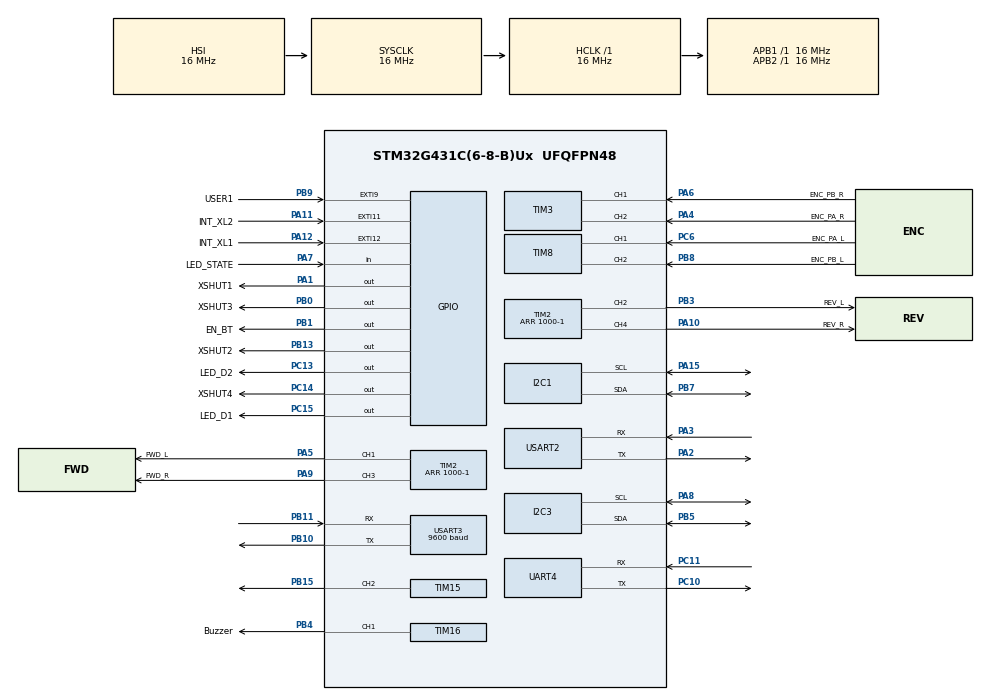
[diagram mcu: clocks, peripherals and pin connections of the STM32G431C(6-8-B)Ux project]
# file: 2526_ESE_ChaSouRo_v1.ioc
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Dma.I2C1_TX.1.Direction=DMA_MEMORY_TO_PERIPH
Dma.I2C1_TX.1.EventEnable=DISABLE
Dma.I2C1_TX.1.Instance=DMA1_Channel2
Dma.I2C1_TX.1.MemDataAlignment=DMA_MDATAALIGN_BYTE
Dma.I2C1_TX.1.MemInc=DMA_MINC_ENABLE
Dma.I2C1_TX.1.Mode=DMA_NORMAL
Dma.I2C1_TX.1.PeriphDataAlignment=DMA_PDATAALIGN_BYTE
Dma.I2C1_TX.1.PeriphInc=DMA_PINC_DISABLE
Dma.I2C1_TX.1.Polarity=HAL_DMAMUX_REQ_GEN_RISING
Dma.I2C1_TX.1.Priority=DMA_PRIORITY_LOW
Dma.I2C1_TX.1.RequestNumber=1
Dma.I2C1_TX.1.SignalID=NONE
Dma.I2C1_TX.1.SyncEnable=DISABLE
Dma.I2C1_TX.1.SyncPolarity=HAL_DMAMUX_SYNC_NO_EVENT
Dma.I2C1_TX.1.SyncRequestNumber=1
Dma.I2C1_TX.1.SyncSignalID=NONE
Dma.Request0=USART2_RX
Dma.Request1=I2C1_TX
Dma.Request2=USART3_TX
Dma.USART2_RX.0.Direction=DMA_PERIPH_TO_MEMORY
Dma.USART2_RX.0.EventEnable=DISABLE
Dma.USART2_RX.0.Instance=DMA1_Channel3
Dma.USART2_RX.0.MemDataAlignment=DMA_MDATAALIGN_BYTE
Dma.USART2_RX.0.MemInc=DMA_MINC_ENABLE
Dma.USART2_RX.0.Mode=DMA_CIRCULAR
Dma.USART2_RX.0.PeriphDataAlignment=DMA_PDATAALIGN_BYTE
Dma.USART2_RX.0.PeriphInc=DMA_PINC_DISABLE
Dma.USART2_RX.0.Polarity=HAL_DMAMUX_REQ_GEN_RISING
Dma.USART2_RX.0.Priority=DMA_PRIORITY_LOW
Dma.USART2_RX.0.RequestNumber=1
Dma.USART2_RX.0.SignalID=NONE
Dma.USART2_RX.0.SyncEnable=DISABLE
Dma.USART2_RX.0.SyncPolarity=HAL_DMAMUX_SYNC_NO_EVENT
Dma.USART2_RX.0.SyncRequestNumber=1
Dma.USART2_RX.0.SyncSignalID=NONE
Dma.USART3_TX.2.Direction=DMA_MEMORY_TO_PERIPH
Dma.USART3_TX.2.EventEnable=DISABLE
Dma.USART3_TX.2.Instance=DMA1_Channel1
Dma.USART3_TX.2.MemDataAlignment=DMA_MDATAALIGN_BYTE
Dma.USART3_TX.2.MemInc=DMA_MINC_ENABLE
Dma.USART3_TX.2.Mode=DMA_CIRCULAR
Dma.USART3_TX.2.PeriphDataAlignment=DMA_PDATAALIGN_BYTE
Dma.USART3_TX.2.PeriphInc=DMA_PINC_DISABLE
Dma.USART3_TX.2.Polarity=HAL_DMAMUX_REQ_GEN_RISING
Dma.USART3_TX.2.Priority=DMA_PRIORITY_LOW
Dma.USART3_TX.2.RequestNumber=1
Dma.USART3_TX.2.SignalID=NONE
Dma.USART3_TX.2.SyncEnable=DISABLE
Dma.USART3_TX.2.SyncPolarity=HAL_DMAMUX_SYNC_NO_EVENT
Dma.USART3_TX.2.SyncRequestNumber=1
Dma.USART3_TX.2.SyncSignalID=NONE
FREERTOS.INCLUDE_uxTaskGetStackHighWaterMark=1
FREERTOS.INCLUDE_uxTaskGetStackHighWaterMark2=1
FREERTOS.INCLUDE_vTaskDelayUntil=1
FREERTOS.Tasks01=defaultTask,0,128,StartDefaultTask,Default,NULL,Dynamic,NULL,NULL
FREERTOS.configCHECK_FOR_STACK_OVERFLOW=2
FREERTOS.configGENERATE_RUN_TIME_STATS=1
FREERTOS.configRECORD_STACK_HIGH_ADDRESS=1
FREERTOS.configTOTAL_HEAP_SIZE=25000
FREERTOS.configUSE_MALLOC_FAILED_HOOK=1
FREERTOS.configUSE_NEWLIB_REENTRANT=1
FREERTOS.configUSE_STATS_FORMATTING_FUNCTIONS=1
FREERTOS.configUSE_TRACE_FACILITY=1
I2C1.Timing=0x00503D58
I2C3.Timing=0x00503D58
Mcu.Family=STM32G4
Mcu.Name=STM32G431C(6-8-B)Ux
Mcu.Package=UFQFPN48
NVIC.DMA1_Channel1_IRQn=true\:5\:0\:false\:false\:true\:true\:false\:true\:true
NVIC.DMA1_Channel2_IRQn=true\:5\:0\:false\:false\:true\:true\:false\:true\:true
NVIC.DMA1_Channel3_IRQn=true\:5\:0\:false\:false\:true\:true\:false\:true\:true
NVIC.EXTI9_5_IRQn=true\:5\:0\:false\:false\:true\:true\:true\:true\:true
NVIC.PriorityGroup=NVIC_PRIORITYGROUP_4
NVIC.TIM1_TRG_COM_TIM17_IRQn=true\:5\:0\:true\:false\:true\:true\:true\:true\:true
NVIC.TIM6_DAC_IRQn=true\:15\:0\:true\:false\:true\:false\:false\:true\:true
NVIC.TimeBase=TIM6_DAC_IRQn
NVIC.TimeBaseIP=TIM6
NVIC.USART2_IRQn=true\:5\:0\:false\:false\:true\:true\:true\:true\:true
NVIC.USART3_IRQn=true\:5\:0\:false\:false\:true\:true\:true\:true\:true
PA1.GPIO_Label=XSHUT1
PA1.PinState=GPIO_PIN_SET
PA1.Signal=GPIO_Output
PA10.GPIO_Label=REV_R
PA10.Signal=S_TIM2_CH4
PA11.GPIO_Label=INT_XL2
PA11.Signal=GPXTI11
PA12.GPIO_Label=INT_XL1
PA12.Signal=GPXTI12
PA13.Mode=Serial_Wire
PA13.Signal=SYS_JTMS-SWDIO
PA14.Mode=Serial_Wire
PA14.Signal=SYS_JTCK-SWCLK
PA15.Mode=I2C
PA15.Signal=I2C1_SCL
PA2.Mode=Asynchronous
PA2.Signal=USART2_TX
PA3.Mode=Asynchronous
PA3.Signal=USART2_RX
PA4.GPIO_Label=ENC_PA_R
PA4.Signal=S_TIM3_CH2
PA5.GPIO_Label=FWD_L
PA5.Signal=S_TIM2_CH1
PA6.GPIO_Label=ENC_PB_R
PA6.Signal=S_TIM3_CH1
PA7.GPIO_Label=LED_STATE
PA7.Signal=GPIO_Input
PA8.Mode=I2C
PA8.Signal=I2C3_SCL
PA9.GPIO_Label=FWD_R
PA9.Signal=S_TIM2_CH3
PB0.GPIO_Label=XSHUT3
PB0.GPIO_PuPd=GPIO_PULLUP
PB0.PinState=GPIO_PIN_SET
PB0.Signal=GPIO_Output
PB1.GPIO_Label=EN_BT
PB1.Signal=GPIO_Output
PB10.Mode=Asynchronous
PB10.Signal=USART3_TX
PB11.Mode=Asynchronous
PB11.Signal=USART3_RX
PB13.GPIO_Label=XSHUT2
PB13.GPIO_PuPd=GPIO_PULLUP
PB13.PinState=GPIO_PIN_SET
PB13.Signal=GPIO_Output
PB15.Signal=S_TIM15_CH2
PB3.GPIO_Label=REV_L
PB3.Signal=S_TIM2_CH2
PB4.GPIO_Label=Buzzer
PB4.Signal=S_TIM16_CH1
PB5.Mode=I2C
PB5.Signal=I2C3_SDA
PB7.Mode=I2C
PB7.Signal=I2C1_SDA
PB8-BOOT0.GPIO_Label=ENC_PB_L
PB8-BOOT0.Signal=S_TIM8_CH2
PB9.GPIO_Label=USER1
PB9.GPIO_ModeDefaultEXTI=GPIO_MODE_IT_FALLING
PB9.GPIO_PuPd=GPIO_NOPULL
PB9.Signal=GPXTI9
PC10.Mode=Asynchronous
PC10.Signal=UART4_TX
PC11.Mode=Asynchronous
PC11.Signal=UART4_RX
PC13.GPIO_Label=LED_D2
PC13.Signal=GPIO_Output
PC14-OSC32_IN.GPIO_Label=XSHUT4
PC14-OSC32_IN.GPIO_PuPd=GPIO_PULLUP
PC14-OSC32_IN.PinState=GPIO_PIN_SET
PC14-OSC32_IN.Signal=GPIO_Output
PC15-OSC32_OUT.GPIO_Label=LED_D1
PC15-OSC32_OUT.Signal=GPIO_Output
PC6.GPIO_Label=ENC_PA_L
PC6.Signal=S_TIM8_CH1
PF0-OSC_IN.Mode=HSE-External-Oscillator
PF0-OSC_IN.Signal=RCC_OSC_IN
PF1-OSC_OUT.Mode=HSE-External-Oscillator
PF1-OSC_OUT.Signal=RCC_OSC_OUT
ProjectManager.HeapSize=0x200
ProjectManager.StackSize=0x400
ProjectManager.TargetToolchain=STM32CubeIDE
RCC.AHBFreq_Value=16000000
RCC.APB1Freq_Value=16000000
RCC.APB1TimFreq_Value=16000000
RCC.APB2Freq_Value=16000000
RCC.APB2TimFreq_Value=16000000
RCC.CortexFreq_Value=16000000
RCC.EXTERNAL_CLOCK_VALUE=12288000
RCC.HCLKFreq_Value=16000000
RCC.HSE_VALUE=8000000
RCC.HSI48_VALUE=48000000
RCC.HSI_VALUE=16000000
RCC.LSE_VALUE=32768
RCC.SYSCLKFreq_VALUE=16000000
RCC.USBFreq_Value=64000000
RCC.VCOOutputFreq_Value=128000000
SH.S_TIM15_CH2.0=TIM15_CH2,PWM Generation2 CH2
SH.S_TIM16_CH1.0=TIM16_CH1,PWM Generation1 CH1
SH.S_TIM2_CH1.0=TIM2_CH1,PWM Generation1 CH1
SH.S_TIM2_CH2.0=TIM2_CH2,PWM Generation2 CH2
SH.S_TIM2_CH3.0=TIM2_CH3,PWM Generation3 CH3
SH.S_TIM2_CH4.0=TIM2_CH4,PWM Generation4 CH4
SH.S_TIM3_CH1.0=TIM3_CH1,Encoder_Interface
SH.S_TIM3_CH2.0=TIM3_CH2,Encoder_Interface
SH.S_TIM8_CH1.0=TIM8_CH1,Encoder_Interface
SH.S_TIM8_CH2.0=TIM8_CH2,Encoder_Interface
TIM15.Channel-PWM\ Generation2\ CH2=TIM_CHANNEL_2
TIM15.PeriodNoDither=100-1
TIM15.Prescaler=160-1
TIM16.Channel=TIM_CHANNEL_1
TIM17.PeriodNoDither=10000-1
TIM17.Prescaler=160-1
TIM2.Channel-PWM\ Generation1\ CH1=TIM_CHANNEL_1
TIM2.Channel-PWM\ Generation2\ CH2=TIM_CHANNEL_2
TIM2.Channel-PWM\ Generation3\ CH3=TIM_CHANNEL_3
TIM2.Channel-PWM\ Generation4\ CH4=TIM_CHANNEL_4
TIM2.PeriodNoDither=1000-1
USART2.VirtualMode-Asynchronous=VM_ASYNC
USART3.BaudRate=9600
USART3.VirtualMode-Asynchronous=VM_ASYNC
VP_FREERTOS_VS_CMSIS_V1.Mode=CMSIS_V1
VP_SYS_VS_DBSignals.Mode=DisableDeadBatterySignals
VP_SYS_VS_tim6.Mode=TIM6
VP_TIM16_VS_ClockSourceINT.Mode=Enable_Timer
VP_TIM17_VS_ClockSourceINT.Mode=Enable_Timer
board=custom

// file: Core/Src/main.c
/* USER CODE BEGIN Header */
/**
 ******************************************************************************
 * @file           : main.c
 * @brief          : Main program body
 ******************************************************************************
 * @attention
 *
 * Copyright (c) 2025 STMicroelectronics.
 * All rights reserved.
 *
 * This software is licensed under terms that can be found in the LICENSE file
 * in the root directory of this software component.
 * If no LICENSE file comes with this software, it is provided AS-IS.
 *
 ******************************************************************************
 */
/* USER CODE END Header */
#include "main.h"
#include "cmsis_os.h"
#include "dma.h"
#include "i2c.h"
#include "tim.h"
#include "usart.h"
#include "gpio.h"
/* USER CODE BEGIN Includes */
#include <stdio.h>
#include "actuators/motor.h"
#include "actuators/encoder.h"
#include "ssd1306.h"
#include "ssd1306_fonts.h"
#include "sensors/accelerometer.h"
#include "actuators/control.h"
#include "actuators/behavior.h"
#include "sensors/tofs.h"
#include "bluetooth/bluetooth.h"
#include "sensors/lidar.h"
//#include "oled.h"
/* USER CODE END Includes */

/* USER CODE BEGIN PTD */
ADXL345_HandleTypeDef hadxl;
/* USER CODE END PTD */

/* USER CODE BEGIN PV */
h_hc05_t h_hc05 =
{
		.huart = &huart3
};
/* USER CODE END PV */

void SystemClock_Config(void);
void MX_FREERTOS_Init(void);

/* USER CODE BEGIN 0 */
//TERMINAL
int __io_putchar(int chr)
{
	HAL_UART_Transmit(&huart4, (uint8_t*) &chr, 1, HAL_MAX_DELAY);
	return chr;
}

//ANTI-REBOND
bool debounce_check(uint32_t *lastTick, TickType_t delay_ms)
{
	TickType_t now = xTaskGetTickCountFromISR();

	if ((now - *lastTick) < pdMS_TO_TICKS(delay_ms))
	{
		return false; // rebond, ignorer
	}
	*lastTick = now;
	return true; // action validée
}

//PROTECTION MEMOIRE
void vApplicationMallocFailedHook(void)
{
	printf("Malloc failed !\r\n"); //n'arrive pas à créé une task (pas de place)
	taskDISABLE_INTERRUPTS();
	for( ;; );
}

//PROTECTION MEMOIRE
void vApplicationStackOverflowHook(TaskHandle_t xTask, char *pcTaskName)
{
	printf("Stack overflow in task %s\r\n", pcTaskName); //Stack overflow
	taskDISABLE_INTERRUPTS();
	for( ;; );
}
/* USER CODE END 0 */

int main(void)
{

	/* MCU Configuration--------------------------------------------------------*/

	/* Reset of all peripherals, Initializes the Flash interface and the Systick. */
	HAL_Init();

	/* Configure the system clock */
	SystemClock_Config();

	/* Initialize all configured peripherals */
	MX_GPIO_Init();
	MX_DMA_Init();
	MX_I2C1_Init();
	MX_I2C3_Init();
	MX_TIM2_Init();
	MX_TIM3_Init();
	MX_TIM8_Init();
	MX_UART4_Init();
	MX_USART2_UART_Init();
	MX_USART3_UART_Init();
	MX_TIM16_Init();
	MX_TIM15_Init();
	MX_TIM17_Init();
	/* USER CODE BEGIN 2 */
	//INITS
	Init_motors();
	LIDAR_Init();
	TOFs_Init();
	ENC_Init();
	ADXL345_Init(&hadxl, &hi2c1);
	Control_Init();
	//OLED_Init();

	//CREATION DES TASKS
	TOFs_Tasks_Create();
	Control_Tasks_Create();
	Motors_Tasks_Create();
	LIDAR_Tasks_Create();
	ENC_Tasks_Create();
	ADXL345_StartTasks(&hadxl);
	behavior_Tasks_Create();
	HC05_Tasks_Create(&h_hc05);
	//OLED_Tasks_Create();

	//LANCE LE SCHEDULER
	vTaskStartScheduler();
	/* USER CODE END 2 */

	/* Call init function for freertos objects (in cmsis_os2.c) */
	MX_FREERTOS_Init();

	/* Start scheduler */
	osKernelStart();

	/* We should never get here as control is now taken by the scheduler */

	/* Infinite loop */
	while (1)
	{

	}
}

void SystemClock_Config(void)
{
	RCC_OscInitTypeDef RCC_OscInitStruct = {0};
	RCC_ClkInitTypeDef RCC_ClkInitStruct = {0};

	/** Configure the main internal regulator output voltage
	 */
	HAL_PWREx_ControlVoltageScaling(PWR_REGULATOR_VOLTAGE_SCALE1);

	/** Initializes the RCC Oscillators according to the specified parameters
	 * in the RCC_OscInitTypeDef structure.
	 */
	RCC_OscInitStruct.OscillatorType = RCC_OSCILLATORTYPE_HSI;
	RCC_OscInitStruct.HSIState = RCC_HSI_ON;
	RCC_OscInitStruct.HSICalibrationValue = RCC_HSICALIBRATION_DEFAULT;
	RCC_OscInitStruct.PLL.PLLState = RCC_PLL_NONE;
	if (HAL_RCC_OscConfig(&RCC_OscInitStruct) != HAL_OK)
	{
		Error_Handler();
	}

	/** Initializes the CPU, AHB and APB buses clocks
	 */
	RCC_ClkInitStruct.ClockType = RCC_CLOCKTYPE_HCLK|RCC_CLOCKTYPE_SYSCLK
			|RCC_CLOCKTYPE_PCLK1|RCC_CLOCKTYPE_PCLK2;
	RCC_ClkInitStruct.SYSCLKSource = RCC_SYSCLKSOURCE_HSI;
	RCC_ClkInitStruct.AHBCLKDivider = RCC_SYSCLK_DIV1;
	RCC_ClkInitStruct.APB1CLKDivider = RCC_HCLK_DIV1;
	RCC_ClkInitStruct.APB2CLKDivider = RCC_HCLK_DIV1;

	if (HAL_RCC_ClockConfig(&RCC_ClkInitStruct, FLASH_LATENCY_0) != HAL_OK)
	{
		Error_Handler();
	}
}

/* USER CODE BEGIN 4 */
//void HAL_GPIO_EXTI_Callback(uint16_t GPIO_Pin)
//{
//    static TickType_t lastTickUser1 = 0;
//    static uint8_t toggle = 1;
//
//    if (GPIO_Pin == USER1_Pin)
//    {
//        if (!debounce_check(&lastTickUser1, 200))
//            return; // Ignorer rebond
//        if(toggle){
//        	Control_MoveDistanceFromISR(1000);
//			toggle = 0;
//        }
//    }
//}

void HAL_UART_RxHalfCpltCallback(UART_HandleTypeDef *huart)
{
	BaseType_t xHigherPriorityTaskWoken = pdFALSE;

	if (huart == &LID_huartx)
	{
		vTaskNotifyGiveFromISR(htask_LIDAR_Update, &xHigherPriorityTaskWoken);
		portYIELD_FROM_ISR(xHigherPriorityTaskWoken);
	}
}

void HAL_UART_RxCpltCallback(UART_HandleTypeDef *huart)
{
	BaseType_t xHigherPriorityTaskWoken = pdFALSE;

	if (huart == &LID_huartx)
	{
		vTaskNotifyGiveFromISR(htask_LIDAR_Update, &xHigherPriorityTaskWoken);
		portYIELD_FROM_ISR(xHigherPriorityTaskWoken);
	}
	if (huart->Instance==USART3)
	{
		hc05_RX_callback(&h_hc05);
	}
}
/* USER CODE END 4 */

void HAL_TIM_PeriodElapsedCallback(TIM_HandleTypeDef *htim)
{
	if (htim->Instance == TIM6)
	{
		HAL_IncTick();
	}
	/* USER CODE BEGIN Callback 1 */

	//CODE DES CALLBACKS
	enc_HAL_TIM_PeriodElapsedCallback(htim);
	/* USER CODE END Callback 1 */
}

void Error_Handler(void)
{
	/* USER CODE BEGIN Error_Handler_Debug */
	/* User can add his own implementation to report the HAL error return state */
	__disable_irq();
	while (1)
	{
		HAL_GPIO_WritePin(GPIOC, LED_D1_Pin, GPIO_PIN_SET);
		HAL_GPIO_WritePin(GPIOC, LED_D2_Pin, GPIO_PIN_SET);
	}
	/* USER CODE END Error_Handler_Debug */
}
